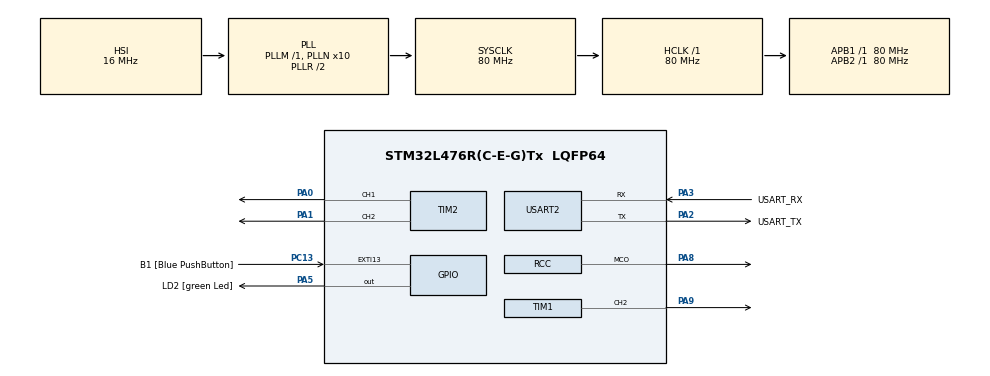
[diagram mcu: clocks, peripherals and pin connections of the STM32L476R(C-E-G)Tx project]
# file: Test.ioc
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Mcu.Family=STM32L4
Mcu.Name=STM32L476R(C-E-G)Tx
Mcu.Package=LQFP64
NVIC.PriorityGroup=NVIC_PRIORITYGROUP_4
PA0.Signal=S_TIM2_CH1
PA1.Signal=S_TIM2_CH2
PA13\ (JTMS-SWDIO).GPIO_Label=TMS
PA13\ (JTMS-SWDIO).Mode=Serial_Wire
PA13\ (JTMS-SWDIO).Signal=SYS_JTMS-SWDIO
PA14\ (JTCK-SWCLK).GPIO_Label=TCK
PA14\ (JTCK-SWCLK).Mode=Serial_Wire
PA14\ (JTCK-SWCLK).Signal=SYS_JTCK-SWCLK
PA2.GPIO_Label=USART_TX
PA2.GPIO_Mode=GPIO_MODE_AF_PP
PA2.GPIO_PuPd=GPIO_NOPULL
PA2.GPIO_Speed=GPIO_SPEED_FREQ_VERY_HIGH
PA2.Mode=Asynchronous
PA2.Signal=USART2_TX
PA3.GPIO_Label=USART_RX
PA3.GPIO_Mode=GPIO_MODE_AF_PP
PA3.GPIO_PuPd=GPIO_NOPULL
PA3.GPIO_Speed=GPIO_SPEED_FREQ_VERY_HIGH
PA3.Mode=Asynchronous
PA3.Signal=USART2_RX
PA5.GPIO_Label=LD2 [green Led]
PA5.GPIO_ModeDefaultOutputPP=GPIO_MODE_OUTPUT_PP
PA5.GPIO_PuPd=GPIO_NOPULL
PA5.GPIO_Speed=GPIO_SPEED_FREQ_LOW
PA5.Signal=GPIO_Output
PA8.Mode=Clock-out
PA8.Signal=RCC_MCO
PA9.Signal=S_TIM1_CH2
PB3\ (JTDO-TRACESWO).GPIO_Label=SWO
PB3\ (JTDO-TRACESWO).Signal=SYS_JTDO-SWO
PC13.GPIO_Label=B1 [Blue PushButton]
PC13.GPIO_ModeDefaultEXTI=GPIO_MODE_IT_FALLING
PC13.GPIO_PuPd=GPIO_NOPULL
PC13.Signal=GPXTI13
PC14-OSC32_IN\ (PC14).Mode=LSE-External-Oscillator
PC14-OSC32_IN\ (PC14).Signal=RCC_OSC32_IN
PC15-OSC32_OUT\ (PC15).Mode=LSE-External-Oscillator
PC15-OSC32_OUT\ (PC15).Signal=RCC_OSC32_OUT
PC9.Signal=S_TIM3_CH4
PH0-OSC_IN\ (PH0).Signal=RCC_OSC_IN
PH1-OSC_OUT\ (PH1).Signal=RCC_OSC_OUT
ProjectManager.HeapSize=0x200
ProjectManager.StackSize=0x400
ProjectManager.TargetToolchain=STM32CubeIDE
RCC.ADCFreq_Value=64000000
RCC.AHBFreq_Value=80000000
RCC.APB1Freq_Value=80000000
RCC.APB1TimFreq_Value=80000000
RCC.APB2Freq_Value=80000000
RCC.APB2TimFreq_Value=80000000
RCC.CortexFreq_Value=80000000
RCC.HCLKFreq_Value=80000000
RCC.HSE_VALUE=8000000
RCC.HSI_VALUE=16000000
RCC.MSI_VALUE=4000000
RCC.PLLN=10
RCC.PLLSourceVirtual=RCC_PLLSOURCE_HSI
RCC.PREFETCH_ENABLE=1
RCC.SYSCLKFreq_VALUE=80000000
RCC.SYSCLKSource=RCC_SYSCLKSOURCE_PLLCLK
RCC.USBFreq_Value=64000000
RCC.VCOOutputFreq_Value=160000000
SH.S_TIM1_CH2.0=TIM1_CH2,PWM Generation2 CH2
SH.S_TIM2_CH1.0=TIM2_CH1,PWM Generation1 CH1
SH.S_TIM2_CH2.0=TIM2_CH2,PWM Generation2 CH2
SH.S_TIM3_CH4.0=TIM3_CH4
TIM1.Channel-PWM\ Generation1\ CH1=TIM_CHANNEL_1
TIM1.Channel-PWM\ Generation2\ CH2=TIM_CHANNEL_2
TIM2.Channel-PWM\ Generation1\ CH1=TIM_CHANNEL_1
TIM2.Channel-PWM\ Generation2\ CH2=TIM_CHANNEL_2
TIM3.Prescaler=4000
USART2.VirtualMode-Asynchronous=VM_ASYNC
VP_TIM1_VS_ClockSourceINT.Mode=Internal
VP_TIM2_VS_ClockSourceINT.Mode=Internal
VP_TIM3_VS_ClockSourceINT.Mode=Internal
board=NUCLEO-L476RG

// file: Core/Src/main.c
/* USER CODE BEGIN Header */
/**
  ******************************************************************************
  * @file           : main.c
  * @brief          : Main program body
  ******************************************************************************
  * @attention
  *
  * Copyright (c) 2025 STMicroelectronics.
  * All rights reserved.
  *
  * This software is licensed under terms that can be found in the LICENSE file
  * in the root directory of this software component.
  * If no LICENSE file comes with this software, it is provided AS-IS.
  *
  ******************************************************************************
  */
/* USER CODE END Header */
#include "main.h"

TIM_HandleTypeDef htim1;
TIM_HandleTypeDef htim2;
TIM_HandleTypeDef htim3;

UART_HandleTypeDef huart2;

void SystemClock_Config(void);
static void MX_GPIO_Init(void);
static void MX_USART2_UART_Init(void);
static void MX_TIM3_Init(void);
static void MX_TIM1_Init(void);
static void MX_TIM2_Init(void);
/* USER CODE BEGIN PFP */
void TIM3_Init_HSync(void);
void gpio_init_hsync_and_vsync(void);
void tim4_init_vsync(void);
void dac_init_output(void);

/* USER CODE END PFP */

int main(void)
{

  /* MCU Configuration--------------------------------------------------------*/

  /* Reset of all peripherals, Initializes the Flash interface and the Systick. */
  HAL_Init();

  /* Configure the system clock */
  SystemClock_Config();

  /* Initialize all configured peripherals */
  MX_GPIO_Init();
  MX_USART2_UART_Init();
  MX_TIM3_Init();
  MX_TIM1_Init();
  MX_TIM2_Init();
  /* USER CODE BEGIN 2 */
  dac_init_output();
  TIM3_Init_HSync();
  gpio_init_hsync_and_vsync();
  tim4_init_vsync();
  tim2_init_color_window();
  /* USER CODE END 2 */

  /* Infinite loop */
  while (1)
  {

  }
}

void SystemClock_Config(void)
{
  RCC_OscInitTypeDef RCC_OscInitStruct = {0};
  RCC_ClkInitTypeDef RCC_ClkInitStruct = {0};

  /** Configure the main internal regulator output voltage
  */
  if (HAL_PWREx_ControlVoltageScaling(PWR_REGULATOR_VOLTAGE_SCALE1) != HAL_OK)
  {
    Error_Handler();
  }

  /** Initializes the RCC Oscillators according to the specified parameters
  * in the RCC_OscInitTypeDef structure.
  */
  RCC_OscInitStruct.OscillatorType = RCC_OSCILLATORTYPE_HSI;
  RCC_OscInitStruct.HSIState = RCC_HSI_ON;
  RCC_OscInitStruct.HSICalibrationValue = RCC_HSICALIBRATION_DEFAULT;
  RCC_OscInitStruct.PLL.PLLState = RCC_PLL_ON;
  RCC_OscInitStruct.PLL.PLLSource = RCC_PLLSOURCE_HSI;
  RCC_OscInitStruct.PLL.PLLM = 1;
  RCC_OscInitStruct.PLL.PLLN = 10;
  RCC_OscInitStruct.PLL.PLLP = RCC_PLLP_DIV7;
  RCC_OscInitStruct.PLL.PLLQ = RCC_PLLQ_DIV2;
  RCC_OscInitStruct.PLL.PLLR = RCC_PLLR_DIV2;
  if (HAL_RCC_OscConfig(&RCC_OscInitStruct) != HAL_OK)
  {
    Error_Handler();
  }

  /** Initializes the CPU, AHB and APB buses clocks
  */
  RCC_ClkInitStruct.ClockType = RCC_CLOCKTYPE_HCLK|RCC_CLOCKTYPE_SYSCLK
                              |RCC_CLOCKTYPE_PCLK1|RCC_CLOCKTYPE_PCLK2;
  RCC_ClkInitStruct.SYSCLKSource = RCC_SYSCLKSOURCE_PLLCLK;
  RCC_ClkInitStruct.AHBCLKDivider = RCC_SYSCLK_DIV1;
  RCC_ClkInitStruct.APB1CLKDivider = RCC_HCLK_DIV1;
  RCC_ClkInitStruct.APB2CLKDivider = RCC_HCLK_DIV1;

  if (HAL_RCC_ClockConfig(&RCC_ClkInitStruct, FLASH_LATENCY_4) != HAL_OK)
  {
    Error_Handler();
  }
  HAL_RCC_MCOConfig(RCC_MCO1, RCC_MCO1SOURCE_SYSCLK, RCC_MCODIV_1);
}

static void MX_TIM1_Init(void)
{

  TIM_ClockConfigTypeDef sClockSourceConfig = {0};
  TIM_MasterConfigTypeDef sMasterConfig = {0};
  TIM_OC_InitTypeDef sConfigOC = {0};
  TIM_BreakDeadTimeConfigTypeDef sBreakDeadTimeConfig = {0};

  htim1.Instance = TIM1;
  htim1.Init.Prescaler = 0;
  htim1.Init.CounterMode = TIM_COUNTERMODE_UP;
  htim1.Init.Period = 65535;
  htim1.Init.ClockDivision = TIM_CLOCKDIVISION_DIV1;
  htim1.Init.RepetitionCounter = 0;
  htim1.Init.AutoReloadPreload = TIM_AUTORELOAD_PRELOAD_DISABLE;
  if (HAL_TIM_Base_Init(&htim1) != HAL_OK)
  {
    Error_Handler();
  }
  sClockSourceConfig.ClockSource = TIM_CLOCKSOURCE_INTERNAL;
  if (HAL_TIM_ConfigClockSource(&htim1, &sClockSourceConfig) != HAL_OK)
  {
    Error_Handler();
  }
  if (HAL_TIM_PWM_Init(&htim1) != HAL_OK)
  {
    Error_Handler();
  }
  sMasterConfig.MasterOutputTrigger = TIM_TRGO_RESET;
  sMasterConfig.MasterOutputTrigger2 = TIM_TRGO2_RESET;
  sMasterConfig.MasterSlaveMode = TIM_MASTERSLAVEMODE_DISABLE;
  if (HAL_TIMEx_MasterConfigSynchronization(&htim1, &sMasterConfig) != HAL_OK)
  {
    Error_Handler();
  }
  sConfigOC.OCMode = TIM_OCMODE_PWM1;
  sConfigOC.Pulse = 0;
  sConfigOC.OCPolarity = TIM_OCPOLARITY_HIGH;
  sConfigOC.OCNPolarity = TIM_OCNPOLARITY_HIGH;
  sConfigOC.OCFastMode = TIM_OCFAST_DISABLE;
  sConfigOC.OCIdleState = TIM_OCIDLESTATE_RESET;
  sConfigOC.OCNIdleState = TIM_OCNIDLESTATE_RESET;
  if (HAL_TIM_PWM_ConfigChannel(&htim1, &sConfigOC, TIM_CHANNEL_2) != HAL_OK)
  {
    Error_Handler();
  }
  sBreakDeadTimeConfig.OffStateRunMode = TIM_OSSR_DISABLE;
  sBreakDeadTimeConfig.OffStateIDLEMode = TIM_OSSI_DISABLE;
  sBreakDeadTimeConfig.LockLevel = TIM_LOCKLEVEL_OFF;
  sBreakDeadTimeConfig.DeadTime = 0;
  sBreakDeadTimeConfig.BreakState = TIM_BREAK_DISABLE;
  sBreakDeadTimeConfig.BreakPolarity = TIM_BREAKPOLARITY_HIGH;
  sBreakDeadTimeConfig.BreakFilter = 0;
  sBreakDeadTimeConfig.Break2State = TIM_BREAK2_DISABLE;
  sBreakDeadTimeConfig.Break2Polarity = TIM_BREAK2POLARITY_HIGH;
  sBreakDeadTimeConfig.Break2Filter = 0;
  sBreakDeadTimeConfig.AutomaticOutput = TIM_AUTOMATICOUTPUT_DISABLE;
  if (HAL_TIMEx_ConfigBreakDeadTime(&htim1, &sBreakDeadTimeConfig) != HAL_OK)
  {
    Error_Handler();
  }
  HAL_TIM_MspPostInit(&htim1);

}

static void MX_TIM2_Init(void)
{

  TIM_ClockConfigTypeDef sClockSourceConfig = {0};
  TIM_MasterConfigTypeDef sMasterConfig = {0};
  TIM_OC_InitTypeDef sConfigOC = {0};

  htim2.Instance = TIM2;
  htim2.Init.Prescaler = 0;
  htim2.Init.CounterMode = TIM_COUNTERMODE_UP;
  htim2.Init.Period = 4294967295;
  htim2.Init.ClockDivision = TIM_CLOCKDIVISION_DIV1;
  htim2.Init.AutoReloadPreload = TIM_AUTORELOAD_PRELOAD_DISABLE;
  if (HAL_TIM_Base_Init(&htim2) != HAL_OK)
  {
    Error_Handler();
  }
  sClockSourceConfig.ClockSource = TIM_CLOCKSOURCE_INTERNAL;
  if (HAL_TIM_ConfigClockSource(&htim2, &sClockSourceConfig) != HAL_OK)
  {
    Error_Handler();
  }
  if (HAL_TIM_PWM_Init(&htim2) != HAL_OK)
  {
    Error_Handler();
  }
  sMasterConfig.MasterOutputTrigger = TIM_TRGO_RESET;
  sMasterConfig.MasterSlaveMode = TIM_MASTERSLAVEMODE_DISABLE;
  if (HAL_TIMEx_MasterConfigSynchronization(&htim2, &sMasterConfig) != HAL_OK)
  {
    Error_Handler();
  }
  sConfigOC.OCMode = TIM_OCMODE_PWM1;
  sConfigOC.Pulse = 0;
  sConfigOC.OCPolarity = TIM_OCPOLARITY_HIGH;
  sConfigOC.OCFastMode = TIM_OCFAST_DISABLE;
  if (HAL_TIM_PWM_ConfigChannel(&htim2, &sConfigOC, TIM_CHANNEL_1) != HAL_OK)
  {
    Error_Handler();
  }
  if (HAL_TIM_PWM_ConfigChannel(&htim2, &sConfigOC, TIM_CHANNEL_2) != HAL_OK)
  {
    Error_Handler();
  }
  HAL_TIM_MspPostInit(&htim2);

}

static void MX_TIM3_Init(void)
{

  TIM_ClockConfigTypeDef sClockSourceConfig = {0};
  TIM_MasterConfigTypeDef sMasterConfig = {0};

  htim3.Instance = TIM3;
  htim3.Init.Prescaler = 4000;
  htim3.Init.CounterMode = TIM_COUNTERMODE_UP;
  htim3.Init.Period = 65535;
  htim3.Init.ClockDivision = TIM_CLOCKDIVISION_DIV1;
  htim3.Init.AutoReloadPreload = TIM_AUTORELOAD_PRELOAD_DISABLE;
  if (HAL_TIM_Base_Init(&htim3) != HAL_OK)
  {
    Error_Handler();
  }
  sClockSourceConfig.ClockSource = TIM_CLOCKSOURCE_INTERNAL;
  if (HAL_TIM_ConfigClockSource(&htim3, &sClockSourceConfig) != HAL_OK)
  {
    Error_Handler();
  }
  sMasterConfig.MasterOutputTrigger = TIM_TRGO_RESET;
  sMasterConfig.MasterSlaveMode = TIM_MASTERSLAVEMODE_DISABLE;
  if (HAL_TIMEx_MasterConfigSynchronization(&htim3, &sMasterConfig) != HAL_OK)
  {
    Error_Handler();
  }

}

static void MX_USART2_UART_Init(void)
{

  huart2.Instance = USART2;
  huart2.Init.BaudRate = 115200;
  huart2.Init.WordLength = UART_WORDLENGTH_8B;
  huart2.Init.StopBits = UART_STOPBITS_1;
  huart2.Init.Parity = UART_PARITY_NONE;
  huart2.Init.Mode = UART_MODE_TX_RX;
  huart2.Init.HwFlowCtl = UART_HWCONTROL_NONE;
  huart2.Init.OverSampling = UART_OVERSAMPLING_16;
  huart2.Init.OneBitSampling = UART_ONE_BIT_SAMPLE_DISABLE;
  huart2.AdvancedInit.AdvFeatureInit = UART_ADVFEATURE_NO_INIT;
  if (HAL_UART_Init(&huart2) != HAL_OK)
  {
    Error_Handler();
  }

}

static void MX_GPIO_Init(void)
{
  GPIO_InitTypeDef GPIO_InitStruct = {0};

  /* GPIO Ports Clock Enable */
  __HAL_RCC_GPIOC_CLK_ENABLE();
  __HAL_RCC_GPIOH_CLK_ENABLE();
  __HAL_RCC_GPIOA_CLK_ENABLE();
  __HAL_RCC_GPIOB_CLK_ENABLE();

  /*Configure GPIO pin Output Level */
  HAL_GPIO_WritePin(LD2_GPIO_Port, LD2_Pin, GPIO_PIN_RESET);

  /*Configure GPIO pin : B1_Pin */
  GPIO_InitStruct.Pin = B1_Pin;
  GPIO_InitStruct.Mode = GPIO_MODE_IT_FALLING;
  GPIO_InitStruct.Pull = GPIO_NOPULL;
  HAL_GPIO_Init(B1_GPIO_Port, &GPIO_InitStruct);

  /*Configure GPIO pin : LD2_Pin */
  GPIO_InitStruct.Pin = LD2_Pin;
  GPIO_InitStruct.Mode = GPIO_MODE_OUTPUT_PP;
  GPIO_InitStruct.Pull = GPIO_NOPULL;
  GPIO_InitStruct.Speed = GPIO_SPEED_FREQ_LOW;
  HAL_GPIO_Init(LD2_GPIO_Port, &GPIO_InitStruct);

  /*Configure GPIO pin : PA8 */
  GPIO_InitStruct.Pin = GPIO_PIN_8;
  GPIO_InitStruct.Mode = GPIO_MODE_AF_PP;
  GPIO_InitStruct.Pull = GPIO_NOPULL;
  GPIO_InitStruct.Speed = GPIO_SPEED_FREQ_LOW;
  GPIO_InitStruct.Alternate = GPIO_AF0_MCO;
  HAL_GPIO_Init(GPIOA, &GPIO_InitStruct);

}

/* USER CODE BEGIN 4 */

void TIM3_Init_HSync(void) {
    // Enable GPIOB and TIM3 clocks
    RCC->AHB2ENR |= RCC_AHB2ENR_GPIOBEN;
    RCC->APB1ENR1 |= RCC_APB1ENR1_TIM3EN;

    // Set PB4 to AF2 (TIM3_CH1)

    GPIOB->AFR[0] &= ~(0xF << (4 * 4));
    GPIOB->AFR[0] |= (2 << (4 * 4));    // AF2 for TIM3_CH1
    GPIOB->OTYPER &= ~(1 << 4);         // Push-pull
    GPIOB->OSPEEDR |= (3 << (4 * 2));   // High speed
    GPIOB->PUPDR &= ~(3 << (4 * 2));    // No pull-up/pull-down

    // Configure TIM3 for PWM mode
    TIM3->PSC = 79;                     // Prescaler: (80MHz / (79+1)) = 1MHz → 1 µs per tick
    TIM3->ARR = 31;                     // Auto-reload: 32 µs period (0 to 31)

    TIM3->CCR1 = 4;                     // Pulse width: 4 µs LOW (Active LOW in inverted PWM)

    // Set PWM mode 2 (inverted): Output LOW for CCR1 ticks, HIGH for the rest
    TIM3->CCMR1 &= ~TIM_CCMR1_OC1M;
    TIM3->CCMR1 |= (0b111 << TIM_CCMR1_OC1M_Pos); // PWM mode 2
    TIM3->CCMR1 |= TIM_CCMR1_OC1PE;    // Enable preload

    TIM3->CCER |= TIM_CCER_CC1E;       // Enable output on CH1
    TIM3->CCER |= TIM_CCER_CC1P;       // Invert polarity (active LOW)

    TIM3->CR1 |= TIM_CR1_ARPE;         // Enable ARR preload
    TIM3->EGR |= TIM_EGR_UG;           // Generate an update event to load registers
    TIM3->CR1 |= TIM_CR1_CEN;          // Start the timer
}
void tim4_init_vsync(void) {
    // Enable TIM4 clock
    RCC->APB1ENR1 |= RCC_APB1ENR1_TIM4EN;

    // Disable timer during config
    TIM4->CR1 = 0;

    // Prescaler: 80 → 1 MHz timer clock
    TIM4->PSC = 80 - 1;

    // Auto-reload: 1 MHz / 60 Hz = 16,667 ticks per frame
    TIM4->ARR = 16667 - 1;

    // Pulse width (active time): 64 µs = 64 ticks
    TIM4->CCR1 = 64;

    // PWM mode 1: active high while CNT < CCR1
    TIM4->CCMR1 &= ~TIM_CCMR1_OC1M;
    TIM4->CCMR1 |= (6 << TIM_CCMR1_OC1M_Pos);  // PWM mode 1
    TIM4->CCMR1 |= TIM_CCMR1_OC1PE;            // Enable preload

    TIM4->CCER |= TIM_CCER_CC1E;  // Enable CH1 output

    TIM4->CR1 |= TIM_CR1_ARPE;    // Enable ARR preload

    TIM4->EGR |= TIM_EGR_UG;      // Generate update

    TIM4->CR1 |= TIM_CR1_CEN;     // Enable timer
}
void gpio_init_hsync_and_vsync(void) {
    // Enable GPIOA and GPIOB clocks
    RCC->AHB2ENR |= RCC_AHB2ENR_GPIOAEN | RCC_AHB2ENR_GPIOBEN;

    // --- HSYNC: PA6 (TIM3_CH1) ---

    // Set PA6 to alternate function mode (AF2 = TIM3_CH1)
    GPIOA->MODER &= ~(3 << (6 * 2));      // Clear mode bits for PA6
    GPIOA->MODER |=  (2 << (6 * 2));      // Set PA6 to AF mode
    GPIOA->AFR[0] &= ~(0xF << (6 * 4));   // Clear AF bits for PA6
    GPIOA->AFR[0] |=  (2 << (6 * 4));     // Set AF2 for PA6

    // Set PA6 speed to high
    GPIOA->OSPEEDR |= (3 << (6 * 2));

    // --- VSYNC: PB6 (TIM4_CH1) ---

    // Set PB6 to alternate function mode (AF2 = TIM4_CH1)
    GPIOB->MODER &= ~(3 << (6 * 2));      // Clear mode bits for PB6
    GPIOB->MODER |=  (2 << (6 * 2));      // Set PB6 to AF mode
    GPIOB->AFR[0] &= ~(0xF << (6 * 4));   // Clear AF bits for PB6
    GPIOB->AFR[0] |=  (2 << (6 * 4));     // Set AF2 for PB6

    // Set PB6 speed to high
    GPIOB->OSPEEDR |= (3 << (6 * 2));
}
void dac_init_output(void) {
    RCC->AHB2ENR |= RCC_AHB2ENR_GPIOAEN;
    GPIOA->MODER |= (3 << (4 * 2)); // Analog mode on PA4

    RCC->APB1ENR1 |= RCC_APB1ENR1_DAC1EN;

    DAC1->CR &= ~DAC_CR_EN1;
    DAC1->DHR12R1 = 4095; // Full brightness
    // DAC remains OFF until gated by timer
}
void tim2_init_color_window(void) {
    RCC->APB1ENR1 |= RCC_APB1ENR1_TIM2EN;

    // Assume full line time is ~2547 ticks at 80 MHz (from HSYNC)
    // We'll use this timer to trigger during visible window only

    TIM2->PSC = 0;           // Full 80 MHz
    TIM2->ARR = 2547;        // Match TIM3 period
    TIM2->CCR1 = 240;        // Start of active video (~after back porch)
    TIM2->CCR2 = 1880;       // End of active video (~before front porch)

    // Enable output compare interrupt
    TIM2->DIER |= TIM_DIER_CC1IE | TIM_DIER_CC2IE;
    TIM2->CR1 |= TIM_CR1_CEN;

    NVIC_EnableIRQ(TIM2_IRQn);
}
/* USER CODE END 4 */

void Error_Handler(void)
{
  __disable_irq();
  while (1)
  {
  }
}
